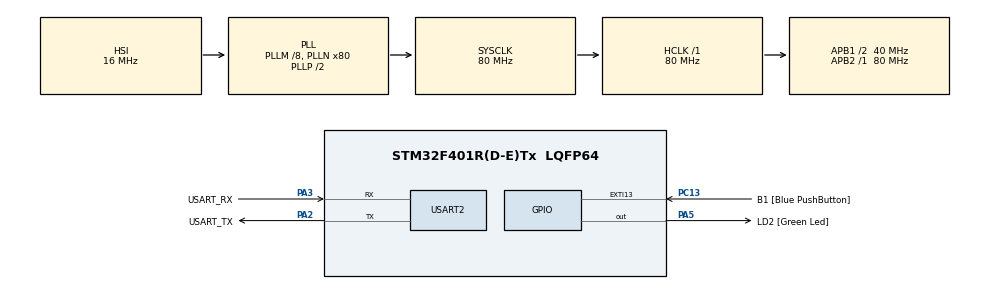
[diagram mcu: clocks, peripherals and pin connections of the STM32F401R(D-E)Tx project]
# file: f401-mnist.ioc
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Mcu.Family=STM32F4
Mcu.Name=STM32F401R(D-E)Tx
Mcu.Package=LQFP64
NVIC.PriorityGroup=NVIC_PRIORITYGROUP_0
PA13.GPIO_Label=TMS
PA13.Signal=SYS_JTMS-SWDIO
PA14.GPIO_Label=TCK
PA14.Signal=SYS_JTCK-SWCLK
PA2.GPIO_Label=USART_TX
PA2.GPIO_Mode=GPIO_MODE_AF_PP
PA2.GPIO_PuPd=GPIO_NOPULL
PA2.GPIO_Speed=GPIO_SPEED_FREQ_LOW
PA2.Mode=Asynchronous
PA2.Signal=USART2_TX
PA3.GPIO_Label=USART_RX
PA3.GPIO_Mode=GPIO_MODE_AF_PP
PA3.GPIO_PuPd=GPIO_NOPULL
PA3.GPIO_Speed=GPIO_SPEED_FREQ_LOW
PA3.Mode=Asynchronous
PA3.Signal=USART2_RX
PA5.GPIO_Label=LD2 [Green Led]
PA5.GPIO_Mode=GPIO_MODE_OUTPUT_PP
PA5.GPIO_PuPd=GPIO_NOPULL
PA5.GPIO_Speed=GPIO_SPEED_FREQ_LOW
PA5.Signal=GPIO_Output
PB3.GPIO_Label=SWO
PB3.Signal=SYS_JTDO-SWO
PC13-ANTI_TAMP.GPIO_Label=B1 [Blue PushButton]
PC13-ANTI_TAMP.GPIO_ModeDefaultEXTI=GPIO_MODE_IT_FALLING
PC13-ANTI_TAMP.GPIO_PuPd=GPIO_NOPULL
PC13-ANTI_TAMP.Signal=GPXTI13
PC14-OSC32_IN.Signal=RCC_OSC32_IN
PC15-OSC32_OUT.Signal=RCC_OSC32_OUT
PH0\ -\ OSC_IN.Signal=RCC_OSC_IN
PH1\ -\ OSC_OUT.Signal=RCC_OSC_OUT
ProjectManager.HeapSize=0x200
ProjectManager.StackSize=0x400
ProjectManager.TargetToolchain=STM32CubeIDE
RCC.48MHZClocksFreq_Value=22857142.85714286
RCC.AHBFreq_Value=80000000
RCC.APB1CLKDivider=RCC_HCLK_DIV2
RCC.APB1Freq_Value=40000000
RCC.APB1TimFreq_Value=80000000
RCC.APB2Freq_Value=80000000
RCC.APB2TimFreq_Value=80000000
RCC.CortexFreq_Value=80000000
RCC.HCLKFreq_Value=80000000
RCC.HSE_VALUE=8000000
RCC.HSI_VALUE=16000000
RCC.LSE_VALUE=32768
RCC.PLLM=8
RCC.PLLN=80
RCC.PLLQ=7
RCC.SYSCLKFreq_VALUE=80000000
RCC.SYSCLKSource=RCC_SYSCLKSOURCE_PLLCLK
RCC.VCOOutputFreq_Value=160000000
TIM10.Prescaler=79
USART2.VirtualMode=VM_ASYNC
VP_TIM10_VS_ClockSourceINT.Mode=Enable_Timer
board=NUCLEO-F401RE

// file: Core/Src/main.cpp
/* USER CODE BEGIN Header */
/**
  ******************************************************************************
  * @file           : main.c
  * @brief          : Main program body
  ******************************************************************************
  * @attention
  *
  * <h2><center>&copy; Copyright (c) 2021 STMicroelectronics.
  * All rights reserved.</center></h2>
  *
  * This software component is licensed by ST under BSD 3-Clause license,
  * the "License"; You may not use this file except in compliance with the
  * License. You may obtain a copy of the License at:
  *                        opensource.org/licenses/BSD-3-Clause
  *
  ******************************************************************************
  */
/* USER CODE END Header */
#include "main.h"
#include "model_mnist.h"
#include <string.h>

/* USER CODE BEGIN Includes */
#include "tensorflow/lite/micro/all_ops_resolver.h"
#include "tensorflow/lite/micro/micro_error_reporter.h"
#include "tensorflow/lite/micro/micro_interpreter.h"
#include "tensorflow/lite/schema/schema_generated.h"
/* USER CODE END Includes */

TIM_HandleTypeDef htim10;

UART_HandleTypeDef huart2;

/* USER CODE BEGIN PV */

namespace {
  tflite::ErrorReporter* error_reporter = nullptr;
  const tflite::Model* model = nullptr;
  tflite::MicroInterpreter* interpreter = nullptr;
  TfLiteTensor* model_input = nullptr;
  TfLiteTensor* model_output = nullptr;

  // Create an area of memory to use for input, output, and other TensorFlow
  // arrays. You'll need to adjust this by compiling, running, and looking
  // for errors.
  constexpr int kTensorArenaSize = 75 * 1024;
  __attribute__((aligned(16)))uint8_t tensor_arena[kTensorArenaSize];
} // namespace
/* USER CODE END PV */

void SystemClock_Config(void);
static void MX_GPIO_Init(void);
static void MX_TIM10_Init(void);
static void MX_USART2_UART_Init(void);
static void readUartBytes(float *data, int imageSize);

int main(void)
{
  /* USER CODE BEGIN 1 */
	char buf[50];
	int buf_len = 0;
	TfLiteStatus tflite_status;
	uint32_t num_elements;
	uint32_t timestamp;

	int imagesize = 28*28*1;

  /* USER CODE END 1 */

  /* MCU Configuration--------------------------------------------------------*/

  /* Reset of all peripherals, Initializes the Flash interface and the Systick. */
  HAL_Init();

  /* Configure the system clock */
  SystemClock_Config();

  /* USER CODE BEGIN SysInit */
  HAL_TIM_Base_Start(&htim10);

  /* USER CODE END SysInit */

  /* Initialize all configured peripherals */
  MX_GPIO_Init();
  MX_TIM10_Init();
  MX_USART2_UART_Init();
  /* USER CODE BEGIN 2 */

  static tflite::MicroErrorReporter micro_error_reporter;
    error_reporter = &micro_error_reporter;

    error_reporter->Report("STM32 TensorFlow Lite test");

    model = tflite::GetModel(model_mnist);
    if (model->version() != TFLITE_SCHEMA_VERSION)
    {
  	 error_reporter->Report("Model version does not match Schema");
  	 while(1);
    }
//    static tflite::AllOpsResolver resolver;
    static tflite::MicroMutableOpResolver<4> resolver;

    tflite_status = resolver.AddConv2D();
    if (tflite_status != kTfLiteOk)
    {
    	error_reporter->Report("Could not add Conv2D op");
    	while(1);
    }

    tflite_status = resolver.AddReshape();
    if (tflite_status != kTfLiteOk)
    {
      error_reporter->Report("Could not add RESHAPE op");
    	while(1);
    }
    tflite_status = resolver.AddFullyConnected();
        if (tflite_status != kTfLiteOk)
        {
          error_reporter->Report("Could not add FULLY CONNECTED op");
        	while(1);
        }
    tflite_status = resolver.AddSoftmax();
    if (tflite_status != kTfLiteOk)
    {
  	error_reporter->Report("Could not add SOFTMAX op");
  	while(1);
    }

    // Build an interpreter to run the model with.
    static tflite::MicroInterpreter static_interpreter(
        model, resolver, tensor_arena, kTensorArenaSize, error_reporter);
    interpreter = &static_interpreter;

    tflite_status = interpreter->AllocateTensors();
    if (tflite_status != kTfLiteOk)
    {
      error_reporter->Report("AllocateTensors() failed");
      while(1);
    }

    model_input = interpreter->input(0);
      model_output = interpreter->output(0);

      // Get number of elements in input tensor
      num_elements = model_input->bytes / sizeof(float);
      buf_len = sprintf(buf, "Number of input elements: %lu\r\n", num_elements);
      HAL_UART_Transmit(&huart2, (uint8_t *)buf, buf_len, 100);

      /* USER CODE END 2 */

      /* Infinite loop */
      /* USER CODE BEGIN WHILE */

      buf_len = sprintf(buf, "start!\n");
      HAL_UART_Transmit(&huart2, (uint8_t *)buf, buf_len, HAL_MAX_DELAY);

  /* USER CODE END 2 */

  /* Infinite loop */
  /* USER CODE BEGIN WHILE */
  while (1)
  {
    /* USER CODE END WHILE */

    /* USER CODE BEGIN 3 */

	  readUartBytes(model_input->data.f, imagesize);

	      // Get current timestamp
	      timestamp = htim10.Instance->CNT;
	      /* USER CODE BEGIN 3 */

	      // Run inference
	  	tflite_status = interpreter->Invoke();
	  	if (tflite_status != kTfLiteOk)
	  	{
	  	  error_reporter->Report("Invoke failed");
	  	}

	  	float max = 0.0f;
	  		int maxIndex = 0;

	  		for(int i=0; i<10; i++)
	  		{
	  			float val = model_output->data.f[i];
	  			if(max<val)
	  			{
	  				max = val;
	  				maxIndex = i;
	  			}
	  		}

	  		uint32_t timestamp_next = htim10.Instance->CNT;
	  		timestamp = (timestamp_next<timestamp)?(65536 - timestamp + timestamp_next):
	  											   (timestamp_next-timestamp);

	  		buf_len = sprintf(buf,
	  						  "Predicted: %u | Duration: %lu\r\n",
	  						  maxIndex,
	  						  timestamp);
	  		HAL_UART_Transmit(&huart2, (uint8_t *)buf, buf_len, 100);

	  		//HAL_Delay(500);
	  		HAL_GPIO_TogglePin(GPIOC, GPIO_PIN_1);
	  	  }
 }
  /* USER CODE END 3 */

void readUartBytes(float *data, int imageSize)
{
    uint8_t *rxBuffer = (uint8_t *)malloc(imageSize);
    for(int i=0;i<imageSize;i++)
    {
    	HAL_UART_Receive(&huart2, (rxBuffer+i), 1, HAL_MAX_DELAY);
    	data[i] = static_cast<float>(rxBuffer[i]) / 255.0f;
    }
    free(rxBuffer);
    //rxBytes = HAL_UART_Receive(&huart1, rxBuffer, imageSize, HAL_MAX_DELAY);
}
void SystemClock_Config(void)
{
  RCC_OscInitTypeDef RCC_OscInitStruct = {0};
  RCC_ClkInitTypeDef RCC_ClkInitStruct = {0};

  /** Configure the main internal regulator output voltage
  */
  __HAL_RCC_PWR_CLK_ENABLE();
  __HAL_PWR_VOLTAGESCALING_CONFIG(PWR_REGULATOR_VOLTAGE_SCALE2);
  /** Initializes the RCC Oscillators according to the specified parameters
  * in the RCC_OscInitTypeDef structure.
  */
  RCC_OscInitStruct.OscillatorType = RCC_OSCILLATORTYPE_HSI;
  RCC_OscInitStruct.HSIState = RCC_HSI_ON;
  RCC_OscInitStruct.HSICalibrationValue = RCC_HSICALIBRATION_DEFAULT;
  RCC_OscInitStruct.PLL.PLLState = RCC_PLL_ON;
  RCC_OscInitStruct.PLL.PLLSource = RCC_PLLSOURCE_HSI;
  RCC_OscInitStruct.PLL.PLLM = 8;
  RCC_OscInitStruct.PLL.PLLN = 80;
  RCC_OscInitStruct.PLL.PLLP = RCC_PLLP_DIV2;
  RCC_OscInitStruct.PLL.PLLQ = 7;
  if (HAL_RCC_OscConfig(&RCC_OscInitStruct) != HAL_OK)
  {
    Error_Handler();
  }
  /** Initializes the CPU, AHB and APB buses clocks
  */
  RCC_ClkInitStruct.ClockType = RCC_CLOCKTYPE_HCLK|RCC_CLOCKTYPE_SYSCLK
                              |RCC_CLOCKTYPE_PCLK1|RCC_CLOCKTYPE_PCLK2;
  RCC_ClkInitStruct.SYSCLKSource = RCC_SYSCLKSOURCE_PLLCLK;
  RCC_ClkInitStruct.AHBCLKDivider = RCC_SYSCLK_DIV1;
  RCC_ClkInitStruct.APB1CLKDivider = RCC_HCLK_DIV2;
  RCC_ClkInitStruct.APB2CLKDivider = RCC_HCLK_DIV1;

  if (HAL_RCC_ClockConfig(&RCC_ClkInitStruct, FLASH_LATENCY_2) != HAL_OK)
  {
    Error_Handler();
  }
}

static void MX_TIM10_Init(void)
{

  htim10.Instance = TIM10;
  htim10.Init.Prescaler = 79;
  htim10.Init.CounterMode = TIM_COUNTERMODE_UP;
  htim10.Init.Period = 65535;
  htim10.Init.ClockDivision = TIM_CLOCKDIVISION_DIV1;
  htim10.Init.AutoReloadPreload = TIM_AUTORELOAD_PRELOAD_DISABLE;
  if (HAL_TIM_Base_Init(&htim10) != HAL_OK)
  {
    Error_Handler();
  }

}

static void MX_USART2_UART_Init(void)
{

  huart2.Instance = USART2;
  huart2.Init.BaudRate = 115200;
  huart2.Init.WordLength = UART_WORDLENGTH_8B;
  huart2.Init.StopBits = UART_STOPBITS_1;
  huart2.Init.Parity = UART_PARITY_NONE;
  huart2.Init.Mode = UART_MODE_TX_RX;
  huart2.Init.HwFlowCtl = UART_HWCONTROL_NONE;
  huart2.Init.OverSampling = UART_OVERSAMPLING_16;
  if (HAL_UART_Init(&huart2) != HAL_OK)
  {
    Error_Handler();
  }

}

static void MX_GPIO_Init(void)
{
  GPIO_InitTypeDef GPIO_InitStruct = {0};

  /* GPIO Ports Clock Enable */
  __HAL_RCC_GPIOC_CLK_ENABLE();
  __HAL_RCC_GPIOH_CLK_ENABLE();
  __HAL_RCC_GPIOA_CLK_ENABLE();
  __HAL_RCC_GPIOB_CLK_ENABLE();

  /*Configure GPIO pin Output Level */
  HAL_GPIO_WritePin(LD2_GPIO_Port, LD2_Pin, GPIO_PIN_RESET);

  /*Configure GPIO pin : B1_Pin */
  GPIO_InitStruct.Pin = B1_Pin;
  GPIO_InitStruct.Mode = GPIO_MODE_IT_FALLING;
  GPIO_InitStruct.Pull = GPIO_NOPULL;
  HAL_GPIO_Init(B1_GPIO_Port, &GPIO_InitStruct);

  /*Configure GPIO pin : LD2_Pin */
  GPIO_InitStruct.Pin = LD2_Pin;
  GPIO_InitStruct.Mode = GPIO_MODE_OUTPUT_PP;
  GPIO_InitStruct.Pull = GPIO_NOPULL;
  GPIO_InitStruct.Speed = GPIO_SPEED_FREQ_LOW;
  HAL_GPIO_Init(LD2_GPIO_Port, &GPIO_InitStruct);

}

/* USER CODE BEGIN 4 */

extern "C" void DebugLog(const char* s)
{
  HAL_UART_Transmit(&huart2, (uint8_t *)s, strlen(s), 100);
}
/* USER CODE END 4 */

void Error_Handler(void)
{
  __disable_irq();
  while (1)
  {
  }
}

/************************ (C) COPYRIGHT STMicroelectronics *****END OF FILE****/
